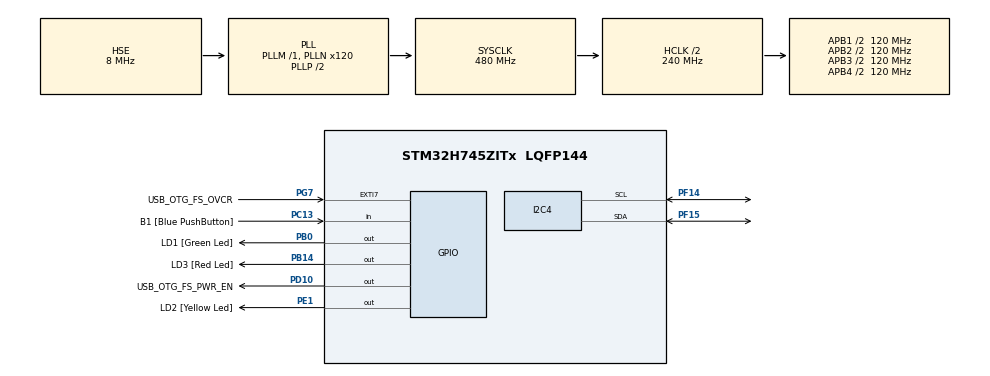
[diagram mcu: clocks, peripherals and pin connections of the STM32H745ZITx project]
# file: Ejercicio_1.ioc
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CortexM4.IPs=FATFS_M4\:I,FREERTOS_M4\:I,IWDG2\:I,RCC,WWDG2\:I,DMA,BDMA,MDMA,NVIC2\:I,DEBUG,USB_DEVICE_M4\:I,USB_HOST_M4\:I,PDM2PCM_M4\:I,PWR,RESMGR_UTILITY,SYS_M4\:I,CORTEX_M4\:I,OPENAMP_M4\:I,VREFBUF,GPIO
CortexM7.IPs=FATFS_M7\:I,FREERTOS_M7\:I,IWDG1\:I,RCC\:I,WWDG1\:I,DMA\:I,BDMA\:I,MDMA\:I,NVIC1\:I,SYS\:I,CORTEX_M7\:I,DEBUG\:I,USB_DEVICE_M7\:I,USB_HOST_M7\:I,PDM2PCM_M7\:I,PWR\:I,RESMGR_UTILITY\:I,OPENAMP_M7\:I,VREFBUF\:I,GPIO\:I,I2C4\:I,TIM2\:I
I2C4.Timing=0x307075B1
Mcu.Family=STM32H7
Mcu.Name=STM32H745ZITx
Mcu.Package=LQFP144
NVIC1.PriorityGroup=NVIC_PRIORITYGROUP_4
NVIC2.PriorityGroup=NVIC_PRIORITYGROUP_4
PA1.PinAttribute=CortexM7
PA1.Signal=ETH_REF_CLK
PA11.PinAttribute=CortexM7
PA11.Signal=USB_OTG_FS_DM
PA12.PinAttribute=CortexM7
PA12.Signal=USB_OTG_FS_DP
PA2.PinAttribute=CortexM7
PA2.Signal=ETH_MDIO
PA7.PinAttribute=CortexM7
PA7.Signal=ETH_CRS_DV
PA8.PinAttribute=CortexM7
PA8.Signal=USB_OTG_FS_SOF
PA9.PinAttribute=CortexM7
PA9.Signal=USB_OTG_FS_VBUS
PB0.GPIO_Label=LD1 [Green Led]
PB0.PinAttribute=Free
PB0.Signal=GPIO_Output
PB13.PinAttribute=CortexM7
PB13.Signal=ETH_TXD1
PB14.GPIO_Label=LD3 [Red Led]
PB14.PinAttribute=Free
PB14.Signal=GPIO_Output
PC1.PinAttribute=CortexM7
PC1.Signal=ETH_MDC
PC13.GPIO_Label=B1 [Blue PushButton]
PC13.PinAttribute=Free
PC13.Signal=GPIO_Input
PC14-OSC32_IN\ (OSC32_IN).Mode=LSE-External-Oscillator
PC14-OSC32_IN\ (OSC32_IN).PinAttribute=CortexM7
PC14-OSC32_IN\ (OSC32_IN).Signal=RCC_OSC32_IN
PC15-OSC32_OUT\ (OSC32_OUT).Mode=LSE-External-Oscillator
PC15-OSC32_OUT\ (OSC32_OUT).PinAttribute=CortexM7
PC15-OSC32_OUT\ (OSC32_OUT).Signal=RCC_OSC32_OUT
PC4.PinAttribute=CortexM7
PC4.Signal=ETH_RXD0
PC5.PinAttribute=CortexM7
PC5.Signal=ETH_RXD1
PD10.GPIO_Label=USB_OTG_FS_PWR_EN
PD10.PinAttribute=Free
PD10.Signal=GPIO_Output
PD8.GPIO_Label=STLINK_RX
PD8.PinAttribute=CortexM4
PD8.Signal=USART3_TX
PD9.GPIO_Label=STLINK_TX
PD9.PinAttribute=CortexM4
PD9.Signal=USART3_RX
PE1.GPIO_Label=LD2 [Yellow Led]
PE1.PinAttribute=Free
PE1.Signal=GPIO_Output
PF14.Mode=I2C
PF14.PinAttribute=CortexM7
PF14.Signal=I2C4_SCL
PF15.Mode=I2C
PF15.PinAttribute=CortexM7
PF15.Signal=I2C4_SDA
PG11.PinAttribute=CortexM7
PG11.Signal=ETH_TX_EN
PG13.PinAttribute=CortexM7
PG13.Signal=ETH_TXD0
PG7.GPIO_Label=USB_OTG_FS_OVCR
PG7.PinAttribute=Free
PG7.Signal=GPXTI7
PH0-OSC_IN\ (PH0).Mode=HSE-External-Clock-Source
PH0-OSC_IN\ (PH0).PinAttribute=CortexM7
PH0-OSC_IN\ (PH0).Signal=RCC_OSC_IN
PH1-OSC_OUT\ (PH1).PinAttribute=CortexM7
PH1-OSC_OUT\ (PH1).Signal=RCC_OSC_OUT
ProjectManager.HeapSize=M4-0x200,M7-0x200
ProjectManager.StackSize=M4-0x400,M7-0x400
ProjectManager.TargetToolchain=STM32CubeIDE
RCC.ADCFreq_Value=16125000
RCC.APB1Freq_Value=120000000
RCC.APB2Freq_Value=120000000
RCC.APB3Freq_Value=120000000
RCC.APB4Freq_Value=120000000
RCC.CortexFreq_Value=480000000
RCC.D1PPRE=RCC_APB3_DIV2
RCC.D2PPRE1=RCC_APB1_DIV2
RCC.D2PPRE2=RCC_APB2_DIV2
RCC.D3PPRE=RCC_APB4_DIV2
RCC.DIVM1=1
RCC.DIVM3=1
RCC.DIVN1=120
RCC.DIVN3=24
RCC.DIVQ3=4
RCC.HCLKFreq_Value=240000000
RCC.HPRE=RCC_HCLK_DIV2
RCC.HSE_VALUE=8000000
RCC.PLL2FRACN=0
RCC.PLL3FRACN=0
RCC.PLLFRACN=0
RCC.PLLSourceVirtual=RCC_PLLSOURCE_HSE
RCC.SYSCLKFreq_VALUE=480000000
RCC.SYSCLKSource=RCC_SYSCLKSOURCE_PLLCLK
RCC.SupplySource=PWR_DIRECT_SMPS_SUPPLY
RCC.USBCLockSelection=RCC_USBCLKSOURCE_PLL3
RCC.USBFreq_Value=48000000
TIM2.Period=5000
TIM2.Prescaler=48000
VP_SYS_M4_VS_Systick.Mode=SysTick
VP_TIM2_VS_ClockSourceINT.Mode=Internal
board=NUCLEO-H745ZI-Q

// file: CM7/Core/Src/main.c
/* USER CODE BEGIN Header */
/**
  ******************************************************************************
  * @file           : main.c
  * @brief          : Main program body
  ******************************************************************************
  * @attention
  *
  * Copyright (c) 2022 STMicroelectronics.
  * All rights reserved.
  *
  * This software is licensed under terms that can be found in the LICENSE file
  * in the root directory of this software component.
  * If no LICENSE file comes with this software, it is provided AS-IS.
  *
  ******************************************************************************
  */
/* USER CODE END Header */
#include "main.h"

/* USER CODE BEGIN Includes */
#include "i2c-lcd.h"
#include <stdio.h>
#include <string.h>
/* USER CODE END Includes */

/* USER CODE BEGIN PTD */
#define MPU6050_ADDR 0xD0
#define WHO_AM_I 0x75
#define SMPLRT_DIV 0x19
#define PWR_MGMT_1 0x6B

/* USER CODE END PTD */

/* USER CODE BEGIN PD */

#ifndef HSEM_ID_0
#define HSEM_ID_0 (0U) /* HW semaphore 0*/
#endif
/* USER CODE END PD */

I2C_HandleTypeDef hi2c4;

TIM_HandleTypeDef htim2;

void SystemClock_Config(void);
static void MX_GPIO_Init(void);
static void MX_I2C4_Init(void);
static void MX_TIM2_Init(void);

int main(void)
{
/* USER CODE BEGIN Boot_Mode_Sequence_0 */
  int32_t timeout;
/* USER CODE END Boot_Mode_Sequence_0 */

/* USER CODE BEGIN Boot_Mode_Sequence_1 */
  /* Wait until CPU2 boots and enters in stop mode or timeout*/
  timeout = 0xFFFF;
  while((__HAL_RCC_GET_FLAG(RCC_FLAG_D2CKRDY) != RESET) && (timeout-- > 0));
  if ( timeout < 0 )
  {
  Error_Handler();
  }
/* USER CODE END Boot_Mode_Sequence_1 */
  /* MCU Configuration--------------------------------------------------------*/

  /* Reset of all peripherals, Initializes the Flash interface and the Systick. */
  HAL_Init();

  /* Configure the system clock */
  SystemClock_Config();
/* USER CODE BEGIN Boot_Mode_Sequence_2 */
/* When system initialization is finished, Cortex-M7 will release Cortex-M4 by means of
HSEM notification */
/*HW semaphore Clock enable*/
__HAL_RCC_HSEM_CLK_ENABLE();
/*Take HSEM */
HAL_HSEM_FastTake(HSEM_ID_0);
/*Release HSEM in order to notify the CPU2(CM4)*/
HAL_HSEM_Release(HSEM_ID_0,0);
/* wait until CPU2 wakes up from stop mode */
timeout = 0xFFFF;
while((__HAL_RCC_GET_FLAG(RCC_FLAG_D2CKRDY) == RESET) && (timeout-- > 0));
if ( timeout < 0 )
{
Error_Handler();
}
/* USER CODE END Boot_Mode_Sequence_2 */

  /* Initialize all configured peripherals */
  MX_GPIO_Init();
  MX_I2C4_Init();
  MX_TIM2_Init();
  /* USER CODE BEGIN 2 */
  const char genis[] = "Genis";
  const char memo[] = "Memo";
  const char poncho[] = "Poncho";
  const char clear[] = "          ";

  int count = 0;
  uint8_t ind = 0;

  lcd_init();
  lcd_clear();
  /* USER CODE END 2 */

  /* Infinite loop */
  while (1)
  {

    /* USER CODE BEGIN 3 */

	  if (ind == 1){
		  lcd_send_string(clear);
		  lcd_put_cur(count%2, 0);
		  lcd_send_string(memo);
	  } else if (ind == 2){
		  lcd_send_string(clear);
		  lcd_put_cur(count%2, 0);
		  lcd_send_string(genis);
	  } else if (ind == 3){
		  lcd_send_string(clear);
		  lcd_put_cur(count%2, 0);
		  lcd_send_string(poncho);
		  ind = 0;
	  }

	  ind++;
	  count++;
	  lcd_put_cur(count%2, 0);

	  HAL_Delay(500);

  }
  /* USER CODE END 3 */
}

void SystemClock_Config(void)
{
  RCC_OscInitTypeDef RCC_OscInitStruct = {0};
  RCC_ClkInitTypeDef RCC_ClkInitStruct = {0};

  /** Supply configuration update enable
  */
  HAL_PWREx_ConfigSupply(PWR_DIRECT_SMPS_SUPPLY);

  /** Configure the main internal regulator output voltage
  */
  __HAL_PWR_VOLTAGESCALING_CONFIG(PWR_REGULATOR_VOLTAGE_SCALE0);

  while(!__HAL_PWR_GET_FLAG(PWR_FLAG_VOSRDY)) {}

  /** Initializes the RCC Oscillators according to the specified parameters
  * in the RCC_OscInitTypeDef structure.
  */
  RCC_OscInitStruct.OscillatorType = RCC_OSCILLATORTYPE_HSE;
  RCC_OscInitStruct.HSEState = RCC_HSE_BYPASS;
  RCC_OscInitStruct.PLL.PLLState = RCC_PLL_ON;
  RCC_OscInitStruct.PLL.PLLSource = RCC_PLLSOURCE_HSE;
  RCC_OscInitStruct.PLL.PLLM = 1;
  RCC_OscInitStruct.PLL.PLLN = 120;
  RCC_OscInitStruct.PLL.PLLP = 2;
  RCC_OscInitStruct.PLL.PLLQ = 2;
  RCC_OscInitStruct.PLL.PLLR = 2;
  RCC_OscInitStruct.PLL.PLLRGE = RCC_PLL1VCIRANGE_3;
  RCC_OscInitStruct.PLL.PLLVCOSEL = RCC_PLL1VCOWIDE;
  RCC_OscInitStruct.PLL.PLLFRACN = 0;
  if (HAL_RCC_OscConfig(&RCC_OscInitStruct) != HAL_OK)
  {
    Error_Handler();
  }

  /** Initializes the CPU, AHB and APB buses clocks
  */
  RCC_ClkInitStruct.ClockType = RCC_CLOCKTYPE_HCLK|RCC_CLOCKTYPE_SYSCLK
                              |RCC_CLOCKTYPE_PCLK1|RCC_CLOCKTYPE_PCLK2
                              |RCC_CLOCKTYPE_D3PCLK1|RCC_CLOCKTYPE_D1PCLK1;
  RCC_ClkInitStruct.SYSCLKSource = RCC_SYSCLKSOURCE_PLLCLK;
  RCC_ClkInitStruct.SYSCLKDivider = RCC_SYSCLK_DIV1;
  RCC_ClkInitStruct.AHBCLKDivider = RCC_HCLK_DIV2;
  RCC_ClkInitStruct.APB3CLKDivider = RCC_APB3_DIV2;
  RCC_ClkInitStruct.APB1CLKDivider = RCC_APB1_DIV2;
  RCC_ClkInitStruct.APB2CLKDivider = RCC_APB2_DIV2;
  RCC_ClkInitStruct.APB4CLKDivider = RCC_APB4_DIV2;

  if (HAL_RCC_ClockConfig(&RCC_ClkInitStruct, FLASH_LATENCY_4) != HAL_OK)
  {
    Error_Handler();
  }
}

static void MX_I2C4_Init(void)
{

  hi2c4.Instance = I2C4;
  hi2c4.Init.Timing = 0x307075B1;
  hi2c4.Init.OwnAddress1 = 0;
  hi2c4.Init.AddressingMode = I2C_ADDRESSINGMODE_7BIT;
  hi2c4.Init.DualAddressMode = I2C_DUALADDRESS_DISABLE;
  hi2c4.Init.OwnAddress2 = 0;
  hi2c4.Init.OwnAddress2Masks = I2C_OA2_NOMASK;
  hi2c4.Init.GeneralCallMode = I2C_GENERALCALL_DISABLE;
  hi2c4.Init.NoStretchMode = I2C_NOSTRETCH_DISABLE;
  if (HAL_I2C_Init(&hi2c4) != HAL_OK)
  {
    Error_Handler();
  }

  /** Configure Analogue filter
  */
  if (HAL_I2CEx_ConfigAnalogFilter(&hi2c4, I2C_ANALOGFILTER_ENABLE) != HAL_OK)
  {
    Error_Handler();
  }

  /** Configure Digital filter
  */
  if (HAL_I2CEx_ConfigDigitalFilter(&hi2c4, 0) != HAL_OK)
  {
    Error_Handler();
  }

}

static void MX_TIM2_Init(void)
{

  TIM_ClockConfigTypeDef sClockSourceConfig = {0};
  TIM_MasterConfigTypeDef sMasterConfig = {0};

  htim2.Instance = TIM2;
  htim2.Init.Prescaler = 48000;
  htim2.Init.CounterMode = TIM_COUNTERMODE_UP;
  htim2.Init.Period = 5000;
  htim2.Init.ClockDivision = TIM_CLOCKDIVISION_DIV1;
  htim2.Init.AutoReloadPreload = TIM_AUTORELOAD_PRELOAD_DISABLE;
  if (HAL_TIM_Base_Init(&htim2) != HAL_OK)
  {
    Error_Handler();
  }
  sClockSourceConfig.ClockSource = TIM_CLOCKSOURCE_INTERNAL;
  if (HAL_TIM_ConfigClockSource(&htim2, &sClockSourceConfig) != HAL_OK)
  {
    Error_Handler();
  }
  sMasterConfig.MasterOutputTrigger = TIM_TRGO_RESET;
  sMasterConfig.MasterSlaveMode = TIM_MASTERSLAVEMODE_DISABLE;
  if (HAL_TIMEx_MasterConfigSynchronization(&htim2, &sMasterConfig) != HAL_OK)
  {
    Error_Handler();
  }

}

static void MX_GPIO_Init(void)
{

  /* GPIO Ports Clock Enable */
  __HAL_RCC_GPIOC_CLK_ENABLE();
  __HAL_RCC_GPIOH_CLK_ENABLE();
  __HAL_RCC_GPIOF_CLK_ENABLE();

}

void Error_Handler(void)
{
  __disable_irq();
  while (1)
  {
  }
}
